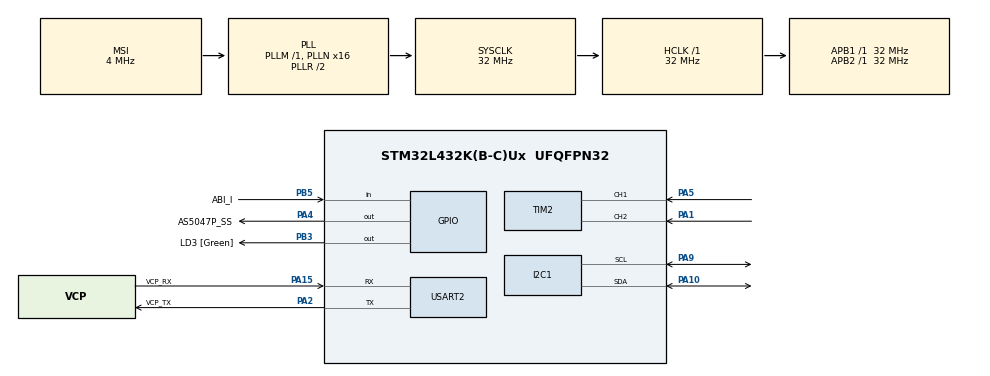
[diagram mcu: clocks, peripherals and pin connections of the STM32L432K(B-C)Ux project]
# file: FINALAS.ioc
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I2C1.Timing=0x00707CBB
Mcu.Family=STM32L4
Mcu.Name=STM32L432K(B-C)Ux
Mcu.Package=UFQFPN32
NVIC.PriorityGroup=NVIC_PRIORITYGROUP_4
NVIC.TIM6_DAC_IRQn=true\:0\:0\:false\:false\:true\:true\:true\:true
NVIC.TIM7_IRQn=true\:0\:0\:false\:false\:true\:true\:true\:true
PA0.GPIO_Label=MCO [High speed clock in]
PA0.Mode=HSE-External-Clock-Source-for-LittleOrca
PA0.Signal=RCC_CK_IN
PA1.Signal=S_TIM2_CH2
PA10.Mode=I2C
PA10.Signal=I2C1_SDA
PA13\ (JTMS-SWDIO).GPIO_Label=SWDIO
PA13\ (JTMS-SWDIO).Mode=Serial_Wire
PA13\ (JTMS-SWDIO).Signal=SYS_JTMS-SWDIO
PA14\ (JTCK-SWCLK).GPIO_Label=SWCLK
PA14\ (JTCK-SWCLK).Mode=Serial_Wire
PA14\ (JTCK-SWCLK).Signal=SYS_JTCK-SWCLK
PA15\ (JTDI).GPIO_Label=VCP_RX
PA15\ (JTDI).Mode=Asynchronous
PA15\ (JTDI).Signal=USART2_RX
PA2.GPIO_Label=VCP_TX
PA2.Mode=Asynchronous
PA2.Signal=USART2_TX
PA4.GPIO_Label=AS5047P_SS
PA4.Signal=GPIO_Output
PA5.Signal=S_TIM2_CH1
PA9.Mode=I2C
PA9.Signal=I2C1_SCL
PB3\ (JTDO-TRACESWO).GPIO_Label=LD3 [Green]
PB3\ (JTDO-TRACESWO).Signal=GPIO_Output
PB5.GPIO_Label=ABI_I
PB5.Signal=GPIO_Input
PC14-OSC32_IN\ (PC14).Mode=LSE-External-Oscillator
PC14-OSC32_IN\ (PC14).Signal=RCC_OSC32_IN
PC15-OSC32_OUT\ (PC15).Mode=LSE-External-Oscillator
PC15-OSC32_OUT\ (PC15).Signal=RCC_OSC32_OUT
ProjectManager.HeapSize=0x200
ProjectManager.StackSize=0x400
ProjectManager.TargetToolchain=Makefile
RCC.AHBFreq_Value=32000000
RCC.APB1Freq_Value=32000000
RCC.APB1TimFreq_Value=32000000
RCC.APB2Freq_Value=32000000
RCC.APB2TimFreq_Value=32000000
RCC.CortexFreq_Value=32000000
RCC.HCLKFreq_Value=32000000
RCC.HSE_VALUE=8000000
RCC.HSI16_VALUE=16000000
RCC.HSI48_VALUE=48000000
RCC.HSI_VALUE=16000000
RCC.MSI_VALUE=4000000
RCC.PLLMUL=RCC_PLLMUL_4
RCC.PLLN=16
RCC.SYSCLKFreq_VALUE=32000000
RCC.SYSCLKSource=RCC_SYSCLKSOURCE_PLLCLK
RCC.VCOOutputFreq_Value=64000000
SH.S_TIM2_CH1.0=TIM2_CH1,Encoder_Interface
SH.S_TIM2_CH2.0=TIM2_CH2,Encoder_Interface
TIM6.AutoReloadPreload=TIM_AUTORELOAD_PRELOAD_ENABLE
TIM6.Period=200
TIM6.Prescaler=40000
TIM7.AutoReloadPreload=TIM_AUTORELOAD_PRELOAD_ENABLE
TIM7.Period=80
TIM7.Prescaler=40000
USART2.VirtualMode-Asynchronous=VM_ASYNC
USART2.WordLength=WORDLENGTH_8B
VP_TIM6_VS_ClockSourceINT.Mode=Enable_Timer
VP_TIM7_VS_ClockSourceINT.Mode=Enable_Timer
board=NUCLEO-L432KC

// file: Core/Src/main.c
/* USER CODE BEGIN Header */
/**
  ******************************************************************************
  * @file           : main.c
  * @brief          : Main program body
  ******************************************************************************
  * @attention
  *
  * Copyright (c) 2024 STMicroelectronics.
  * All rights reserved.
  *
  * This software is licensed under terms that can be found in the LICENSE file
  * in the root directory of this software component.
  * If no LICENSE file comes with this software, it is provided AS-IS.
  *
  ******************************************************************************
  */
/* USER CODE END Header */
#include "main.h"

/* USER CODE BEGIN Includes */
#include <stdio.h>

#include "ssd1306.h"
#include "fonts.h"

#include "globals.h"
/* USER CODE END Includes */

I2C_HandleTypeDef hi2c1;

TIM_HandleTypeDef htim2;
TIM_HandleTypeDef htim6;
TIM_HandleTypeDef htim7;

UART_HandleTypeDef huart2;

/* USER CODE BEGIN PV */
#define ENCODER_PULSES_PER_REVOLUTION 1024  // Set this according to your encoder's specification
#define TIMER6_INTERVAL_SECONDS 0.25  // This should match how often TIM6 triggers an interrupt

float MAIN_speed = 0;
char SPEED_buffer[20];

int frac_part = 0;
int int_part = 0;

volatile uint32_t previous_encoder_count = 0;
volatile uint32_t previous_encoder_time = 0;
volatile float current_rpm = 0.0;

/* USER CODE END PV */

void SystemClock_Config(void);
static void MX_GPIO_Init(void);
static void MX_I2C1_Init(void);
static void MX_TIM6_Init(void);
static void MX_USART2_UART_Init(void);
static void MX_TIM2_Init(void);
static void MX_TIM7_Init(void);
/* USER CODE BEGIN PFP */
void Uart_Transmit(char buffer[20]);
void Get_RPM();
/* USER CODE END PFP */

int main(void)
{

  /* MCU Configuration--------------------------------------------------------*/

  /* Reset of all peripherals, Initializes the Flash interface and the Systick. */
  HAL_Init();

  /* Configure the system clock */
  SystemClock_Config();

  /* Initialize all configured peripherals */
  MX_GPIO_Init();
  MX_I2C1_Init();
  MX_TIM6_Init();
  MX_USART2_UART_Init();
  MX_TIM2_Init();
  MX_TIM7_Init();
  /* USER CODE BEGIN 2 */

  SSD1306_Init();
  if(HAL_TIM_Base_Start_IT(&htim6) != HAL_OK){ //run TIM6 timer
    //ErrorHandler();
  }
  if(HAL_TIM_Base_Start_IT(&htim7) != HAL_OK){ //run TIM6 timer
    //ErrorHandler();
  }
   HAL_TIM_Encoder_Start(&htim2, TIM_CHANNEL_ALL);

  /* USER CODE END 2 */

  /* Infinite loop */
  while (1)
  {

    /* USER CODE BEGIN 3 */

    sprintf(SPEED_buffer, "%d rpm\n",(int)MAIN_speed);
    SSD1306_GotoXY(10,10);
    SSD1306_Puts(SPEED_buffer,&Font_11x18,1);

  }
  /* USER CODE END 3 */
}

void SystemClock_Config(void)
{
  RCC_OscInitTypeDef RCC_OscInitStruct = {0};
  RCC_ClkInitTypeDef RCC_ClkInitStruct = {0};

  /** Configure the main internal regulator output voltage
  */
  if (HAL_PWREx_ControlVoltageScaling(PWR_REGULATOR_VOLTAGE_SCALE1) != HAL_OK)
  {
    Error_Handler();
  }

  /** Configure LSE Drive Capability
  */
  HAL_PWR_EnableBkUpAccess();
  __HAL_RCC_LSEDRIVE_CONFIG(RCC_LSEDRIVE_LOW);

  /** Initializes the RCC Oscillators according to the specified parameters
  * in the RCC_OscInitTypeDef structure.
  */
  RCC_OscInitStruct.OscillatorType = RCC_OSCILLATORTYPE_LSE|RCC_OSCILLATORTYPE_MSI;
  RCC_OscInitStruct.LSEState = RCC_LSE_ON;
  RCC_OscInitStruct.MSIState = RCC_MSI_ON;
  RCC_OscInitStruct.MSICalibrationValue = 0;
  RCC_OscInitStruct.MSIClockRange = RCC_MSIRANGE_6;
  RCC_OscInitStruct.PLL.PLLState = RCC_PLL_ON;
  RCC_OscInitStruct.PLL.PLLSource = RCC_PLLSOURCE_MSI;
  RCC_OscInitStruct.PLL.PLLM = 1;
  RCC_OscInitStruct.PLL.PLLN = 16;
  RCC_OscInitStruct.PLL.PLLP = RCC_PLLP_DIV7;
  RCC_OscInitStruct.PLL.PLLQ = RCC_PLLQ_DIV2;
  RCC_OscInitStruct.PLL.PLLR = RCC_PLLR_DIV2;
  if (HAL_RCC_OscConfig(&RCC_OscInitStruct) != HAL_OK)
  {
    Error_Handler();
  }

  /** Initializes the CPU, AHB and APB buses clocks
  */
  RCC_ClkInitStruct.ClockType = RCC_CLOCKTYPE_HCLK|RCC_CLOCKTYPE_SYSCLK
                              |RCC_CLOCKTYPE_PCLK1|RCC_CLOCKTYPE_PCLK2;
  RCC_ClkInitStruct.SYSCLKSource = RCC_SYSCLKSOURCE_PLLCLK;
  RCC_ClkInitStruct.AHBCLKDivider = RCC_SYSCLK_DIV1;
  RCC_ClkInitStruct.APB1CLKDivider = RCC_HCLK_DIV1;
  RCC_ClkInitStruct.APB2CLKDivider = RCC_HCLK_DIV1;

  if (HAL_RCC_ClockConfig(&RCC_ClkInitStruct, FLASH_LATENCY_1) != HAL_OK)
  {
    Error_Handler();
  }

  /** Enable MSI Auto calibration
  */
  HAL_RCCEx_EnableMSIPLLMode();
}

static void MX_I2C1_Init(void)
{

  hi2c1.Instance = I2C1;
  hi2c1.Init.Timing = 0x00707CBB;
  hi2c1.Init.OwnAddress1 = 0;
  hi2c1.Init.AddressingMode = I2C_ADDRESSINGMODE_7BIT;
  hi2c1.Init.DualAddressMode = I2C_DUALADDRESS_DISABLE;
  hi2c1.Init.OwnAddress2 = 0;
  hi2c1.Init.OwnAddress2Masks = I2C_OA2_NOMASK;
  hi2c1.Init.GeneralCallMode = I2C_GENERALCALL_DISABLE;
  hi2c1.Init.NoStretchMode = I2C_NOSTRETCH_DISABLE;
  if (HAL_I2C_Init(&hi2c1) != HAL_OK)
  {
    Error_Handler();
  }

  /** Configure Analogue filter
  */
  if (HAL_I2CEx_ConfigAnalogFilter(&hi2c1, I2C_ANALOGFILTER_ENABLE) != HAL_OK)
  {
    Error_Handler();
  }

  /** Configure Digital filter
  */
  if (HAL_I2CEx_ConfigDigitalFilter(&hi2c1, 0) != HAL_OK)
  {
    Error_Handler();
  }

}

static void MX_TIM2_Init(void)
{

  TIM_Encoder_InitTypeDef sConfig = {0};
  TIM_MasterConfigTypeDef sMasterConfig = {0};

  htim2.Instance = TIM2;
  htim2.Init.Prescaler = 0;
  htim2.Init.CounterMode = TIM_COUNTERMODE_UP;
  htim2.Init.Period = 4294967295;
  htim2.Init.ClockDivision = TIM_CLOCKDIVISION_DIV1;
  htim2.Init.AutoReloadPreload = TIM_AUTORELOAD_PRELOAD_DISABLE;
  sConfig.EncoderMode = TIM_ENCODERMODE_TI1;
  sConfig.IC1Polarity = TIM_ICPOLARITY_RISING;
  sConfig.IC1Selection = TIM_ICSELECTION_DIRECTTI;
  sConfig.IC1Prescaler = TIM_ICPSC_DIV1;
  sConfig.IC1Filter = 0;
  sConfig.IC2Polarity = TIM_ICPOLARITY_RISING;
  sConfig.IC2Selection = TIM_ICSELECTION_DIRECTTI;
  sConfig.IC2Prescaler = TIM_ICPSC_DIV1;
  sConfig.IC2Filter = 0;
  if (HAL_TIM_Encoder_Init(&htim2, &sConfig) != HAL_OK)
  {
    Error_Handler();
  }
  sMasterConfig.MasterOutputTrigger = TIM_TRGO_RESET;
  sMasterConfig.MasterSlaveMode = TIM_MASTERSLAVEMODE_DISABLE;
  if (HAL_TIMEx_MasterConfigSynchronization(&htim2, &sMasterConfig) != HAL_OK)
  {
    Error_Handler();
  }

}

static void MX_TIM6_Init(void)
{

  TIM_MasterConfigTypeDef sMasterConfig = {0};

  htim6.Instance = TIM6;
  htim6.Init.Prescaler = 40000;
  htim6.Init.CounterMode = TIM_COUNTERMODE_UP;
  htim6.Init.Period = 200;
  htim6.Init.AutoReloadPreload = TIM_AUTORELOAD_PRELOAD_ENABLE;
  if (HAL_TIM_Base_Init(&htim6) != HAL_OK)
  {
    Error_Handler();
  }
  sMasterConfig.MasterOutputTrigger = TIM_TRGO_RESET;
  sMasterConfig.MasterSlaveMode = TIM_MASTERSLAVEMODE_DISABLE;
  if (HAL_TIMEx_MasterConfigSynchronization(&htim6, &sMasterConfig) != HAL_OK)
  {
    Error_Handler();
  }

}

static void MX_TIM7_Init(void)
{

  TIM_MasterConfigTypeDef sMasterConfig = {0};

  htim7.Instance = TIM7;
  htim7.Init.Prescaler = 40000;
  htim7.Init.CounterMode = TIM_COUNTERMODE_UP;
  htim7.Init.Period = 80;
  htim7.Init.AutoReloadPreload = TIM_AUTORELOAD_PRELOAD_ENABLE;
  if (HAL_TIM_Base_Init(&htim7) != HAL_OK)
  {
    Error_Handler();
  }
  sMasterConfig.MasterOutputTrigger = TIM_TRGO_RESET;
  sMasterConfig.MasterSlaveMode = TIM_MASTERSLAVEMODE_DISABLE;
  if (HAL_TIMEx_MasterConfigSynchronization(&htim7, &sMasterConfig) != HAL_OK)
  {
    Error_Handler();
  }

}

static void MX_USART2_UART_Init(void)
{

  huart2.Instance = USART2;
  huart2.Init.BaudRate = 115200;
  huart2.Init.WordLength = UART_WORDLENGTH_8B;
  huart2.Init.StopBits = UART_STOPBITS_1;
  huart2.Init.Parity = UART_PARITY_NONE;
  huart2.Init.Mode = UART_MODE_TX_RX;
  huart2.Init.HwFlowCtl = UART_HWCONTROL_NONE;
  huart2.Init.OverSampling = UART_OVERSAMPLING_16;
  huart2.Init.OneBitSampling = UART_ONE_BIT_SAMPLE_DISABLE;
  huart2.AdvancedInit.AdvFeatureInit = UART_ADVFEATURE_NO_INIT;
  if (HAL_UART_Init(&huart2) != HAL_OK)
  {
    Error_Handler();
  }

}

static void MX_GPIO_Init(void)
{
  GPIO_InitTypeDef GPIO_InitStruct = {0};

  /* GPIO Ports Clock Enable */
  __HAL_RCC_GPIOC_CLK_ENABLE();
  __HAL_RCC_GPIOA_CLK_ENABLE();
  __HAL_RCC_GPIOB_CLK_ENABLE();

  /*Configure GPIO pin Output Level */
  HAL_GPIO_WritePin(AS5047P_SS_GPIO_Port, AS5047P_SS_Pin, GPIO_PIN_RESET);

  /*Configure GPIO pin Output Level */
  HAL_GPIO_WritePin(LD3_GPIO_Port, LD3_Pin, GPIO_PIN_RESET);

  /*Configure GPIO pin : AS5047P_SS_Pin */
  GPIO_InitStruct.Pin = AS5047P_SS_Pin;
  GPIO_InitStruct.Mode = GPIO_MODE_OUTPUT_PP;
  GPIO_InitStruct.Pull = GPIO_NOPULL;
  GPIO_InitStruct.Speed = GPIO_SPEED_FREQ_LOW;
  HAL_GPIO_Init(AS5047P_SS_GPIO_Port, &GPIO_InitStruct);

  /*Configure GPIO pin : LD3_Pin */
  GPIO_InitStruct.Pin = LD3_Pin;
  GPIO_InitStruct.Mode = GPIO_MODE_OUTPUT_PP;
  GPIO_InitStruct.Pull = GPIO_NOPULL;
  GPIO_InitStruct.Speed = GPIO_SPEED_FREQ_LOW;
  HAL_GPIO_Init(LD3_GPIO_Port, &GPIO_InitStruct);

  /*Configure GPIO pin : ABI_I_Pin */
  GPIO_InitStruct.Pin = ABI_I_Pin;
  GPIO_InitStruct.Mode = GPIO_MODE_INPUT;
  GPIO_InitStruct.Pull = GPIO_NOPULL;
  HAL_GPIO_Init(ABI_I_GPIO_Port, &GPIO_InitStruct);

}

/* USER CODE BEGIN 4 */
void Uart_Transmit(char buffer[20]){
  HAL_UART_Transmit(&huart2, (uint8_t *)buffer, strlen(buffer), HAL_MAX_DELAY);
  HAL_GPIO_TogglePin(GPIOB, GPIO_PIN_3);
}

void Get_RPM(){
  static uint32_t lastTicks = 0;
  static uint32_t lastCount = 0;
  uint32_t ticks = HAL_GetTick();

  if(ticks - lastTicks > 0.1){
        lastTicks = ticks;
        uint32_t count = TIM2->CNT;
        double tmp = count - lastCount;
        lastCount = count;
        MAIN_speed = (tmp / 0.1)*ENCODER_PULSES_PER_REVOLUTION;
  }

}
/* USER CODE END 4 */

void Error_Handler(void)
{
  __disable_irq();
  while (1)
  {
  }
}
